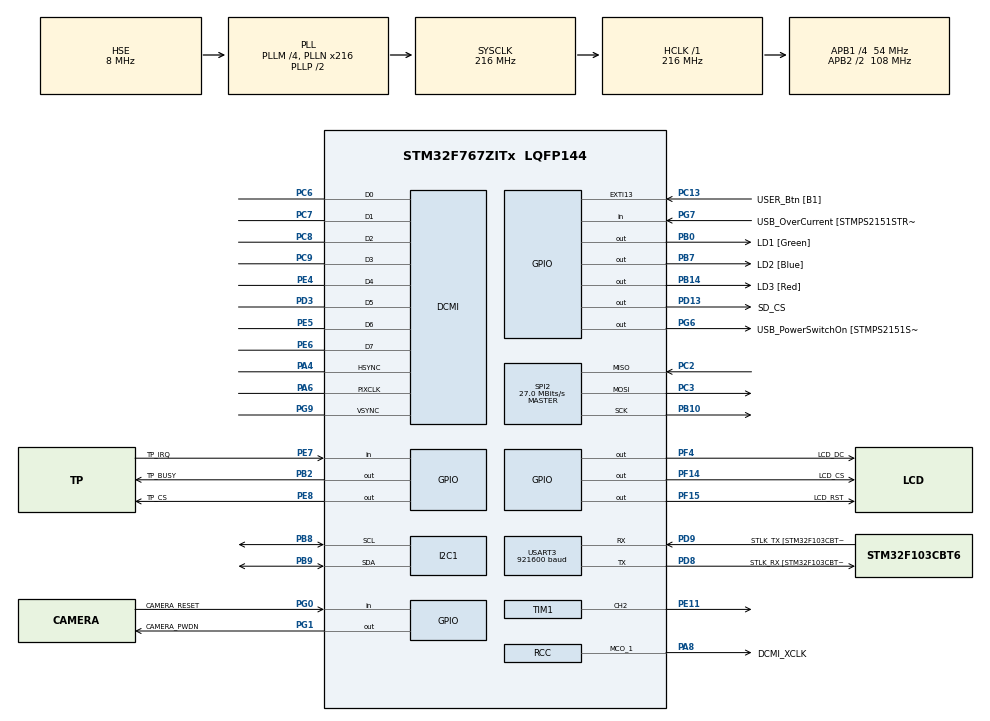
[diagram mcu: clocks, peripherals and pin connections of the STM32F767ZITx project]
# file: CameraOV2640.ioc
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DCMI.JPEGMode=DCMI_JPEG_DISABLE
DCMI.PCKPolarity=DCMI_PCKPOLARITY_RISING
Dma.DCMI.0.Direction=DMA_PERIPH_TO_MEMORY
Dma.DCMI.0.FIFOMode=DMA_FIFOMODE_ENABLE
Dma.DCMI.0.FIFOThreshold=DMA_FIFO_THRESHOLD_FULL
Dma.DCMI.0.Instance=DMA2_Stream1
Dma.DCMI.0.MemBurst=DMA_MBURST_SINGLE
Dma.DCMI.0.MemDataAlignment=DMA_MDATAALIGN_BYTE
Dma.DCMI.0.MemInc=DMA_MINC_ENABLE
Dma.DCMI.0.Mode=DMA_CIRCULAR
Dma.DCMI.0.PeriphBurst=DMA_PBURST_SINGLE
Dma.DCMI.0.PeriphDataAlignment=DMA_PDATAALIGN_WORD
Dma.DCMI.0.PeriphInc=DMA_PINC_DISABLE
Dma.DCMI.0.Priority=DMA_PRIORITY_VERY_HIGH
Dma.Request0=DCMI
I2C1.Timing=0x20404768
Mcu.Family=STM32F7
Mcu.Name=STM32F767ZITx
Mcu.Package=LQFP144
NVIC.DCMI_IRQn=true\:0\:0\:false\:false\:true\:true\:true\:true
NVIC.DMA2_Stream1_IRQn=true\:0\:0\:false\:false\:true\:false\:true\:true
NVIC.PriorityGroup=NVIC_PRIORITYGROUP_4
NVIC.USART3_IRQn=true\:0\:0\:false\:false\:true\:true\:true\:true
PA13.GPIO_Label=TMS
PA13.Mode=Serial_Wire
PA13.Signal=SYS_JTMS-SWDIO
PA14.GPIO_Label=TCK
PA14.Mode=Serial_Wire
PA14.Signal=SYS_JTCK-SWCLK
PA4.GPIO_Speed=GPIO_SPEED_FREQ_VERY_HIGH
PA4.Mode=Slave_8_bits_External_Synchro
PA4.Signal=DCMI_HSYNC
PA6.GPIO_Speed=GPIO_SPEED_FREQ_VERY_HIGH
PA6.Mode=Slave_8_bits_External_Synchro
PA6.Signal=DCMI_PIXCLK
PA8.GPIO_Label=DCMI_XCLK
PA8.GPIO_Speed=GPIO_SPEED_FREQ_VERY_HIGH
PA8.Mode=Clock-out-1
PA8.Signal=RCC_MCO_1
PB0.GPIO_Label=LD1 [Green]
PB0.Signal=GPIO_Output
PB10.Mode=Full_Duplex_Master
PB10.Signal=SPI2_SCK
PB14.GPIO_Label=LD3 [Red]
PB14.Signal=GPIO_Output
PB2.GPIO_Label=TP_BUSY
PB2.Signal=GPIO_Output
PB3.GPIO_Label=SWO
PB3.Signal=SYS_JTDO-SWO
PB7.GPIO_Label=LD2 [Blue]
PB7.Signal=GPIO_Output
PB8.GPIO_Pu=GPIO_PULLUP
PB8.Mode=I2C
PB8.Signal=I2C1_SCL
PB9.GPIO_Pu=GPIO_PULLUP
PB9.Mode=I2C
PB9.Signal=I2C1_SDA
PC13.GPIO_Label=USER_Btn [B1]
PC13.Signal=GPXTI13
PC14/OSC32_IN.Mode=LSE-External-Oscillator
PC14/OSC32_IN.Signal=RCC_OSC32_IN
PC15/OSC32_OUT.Mode=LSE-External-Oscillator
PC15/OSC32_OUT.Signal=RCC_OSC32_OUT
PC2.Mode=Full_Duplex_Master
PC2.Signal=SPI2_MISO
PC3.Mode=Full_Duplex_Master
PC3.Signal=SPI2_MOSI
PC6.GPIO_Speed=GPIO_SPEED_FREQ_VERY_HIGH
PC6.Mode=Slave_8_bits_External_Synchro
PC6.Signal=DCMI_D0
PC7.Mode=Slave_8_bits_External_Synchro
PC7.Signal=DCMI_D1
PC8.Mode=Slave_8_bits_External_Synchro
PC8.Signal=DCMI_D2
PC9.Mode=Slave_8_bits_External_Synchro
PC9.Signal=DCMI_D3
PD13.GPIO_Label=SD_CS
PD13.Signal=GPIO_Output
PD3.Mode=Slave_8_bits_External_Synchro
PD3.Signal=DCMI_D5
PD8.GPIO_Label=STLK_RX [STM32F103CBT6_PA3]
PD8.Mode=Asynchronous
PD8.Signal=USART3_TX
PD9.GPIO_Label=STLK_TX [STM32F103CBT6_PA2]
PD9.Mode=Asynchronous
PD9.Signal=USART3_RX
PE11.Signal=S_TIM1_CH2
PE4.Mode=Slave_8_bits_External_Synchro
PE4.Signal=DCMI_D4
PE5.GPIO_Speed=GPIO_SPEED_FREQ_VERY_HIGH
PE5.Mode=Slave_8_bits_External_Synchro
PE5.Signal=DCMI_D6
PE6.GPIO_Speed=GPIO_SPEED_FREQ_VERY_HIGH
PE6.Mode=Slave_8_bits_External_Synchro
PE6.Signal=DCMI_D7
PE7.GPIO_Label=TP_IRQ
PE7.Signal=GPIO_Input
PE8.GPIO_Label=TP_CS
PE8.Signal=GPIO_Output
PF14.GPIO_Label=LCD_CS
PF14.Signal=GPIO_Output
PF15.GPIO_Label=LCD_RST
PF15.Signal=GPIO_Output
PF4.GPIO_Label=LCD_DC
PF4.Signal=GPIO_Output
PG0.GPIO_Label=CAMERA_RESET
PG0.Signal=GPIO_Input
PG1.GPIO_Label=CAMERA_PWDN
PG1.Signal=GPIO_Output
PG6.GPIO_Label=USB_PowerSwitchOn [STMPS2151STR_EN]
PG6.Signal=GPIO_Output
PG7.GPIO_Label=USB_OverCurrent [STMPS2151STR_FAULT]
PG7.Signal=GPIO_Input
PG9.Mode=Slave_8_bits_External_Synchro
PG9.Signal=DCMI_VSYNC
PH0/OSC_IN.GPIO_Label=MCO [STM32F103CBT6_PA8]
PH0/OSC_IN.Mode=HSE-External-Clock-Source
PH0/OSC_IN.Signal=RCC_OSC_IN
PH1/OSC_OUT.Mode=HSE-External-Clock-Source
PH1/OSC_OUT.Signal=RCC_OSC_OUT
ProjectManager.HeapSize=0x200
ProjectManager.StackSize=0x400
ProjectManager.TargetToolchain=STM32CubeIDE
RCC.48MHZClocksFreq_Value=24000000
RCC.AHBFreq_Value=216000000
RCC.APB1CLKDivider=RCC_HCLK_DIV4
RCC.APB1Freq_Value=54000000
RCC.APB1TimFreq_Value=108000000
RCC.APB2CLKDivider=RCC_HCLK_DIV2
RCC.APB2Freq_Value=108000000
RCC.APB2TimFreq_Value=216000000
RCC.CortexFreq_Value=216000000
RCC.HCLKFreq_Value=216000000
RCC.HSE_VALUE=8000000
RCC.HSI_VALUE=16000000
RCC.PLLI2SR=4
RCC.PLLM=4
RCC.PLLMUL=RCC_PLL_MUL9
RCC.PLLN=216
RCC.PLLQ=4
RCC.PLLSourceVirtual=RCC_PLLSOURCE_HSE
RCC.PRESCALERUSB=RCC_USBCLKSOURCE_PLL_DIV1_5
RCC.RCC_MCO2Source=RCC_MCO2SOURCE_PLLI2SCLK
RCC.RCC_MCODiv1=RCC_MCODIV_2
RCC.RCC_MCODiv2=RCC_MCODIV_3
RCC.SYSCLKFreq_VALUE=216000000
RCC.SYSCLKSource=RCC_SYSCLKSOURCE_PLLCLK
RCC.SYSCLKSourceVirtual=RCC_SYSCLKSOURCE_PLLCLK
RCC.USBFreq_Value=108000000
RCC.VCOOutputFreq_Value=432000000
SH.S_TIM1_CH2.0=TIM1_CH2,PWM Generation2 CH2
SPI2.BaudRatePrescaler=SPI_BAUDRATEPRESCALER_2
SPI2.CalculateBaudRate=27.0 MBits/s
SPI2.DataSize=SPI_DATASIZE_8BIT
SPI2.Direction=SPI_DIRECTION_2LINES
SPI2.Mode=SPI_MODE_MASTER
SPI2.NSSPMode=SPI_NSS_PULSE_DISABLE
SPI2.VirtualType=VM_MASTER
TIM1.Channel-PWM\ Generation2\ CH2=TIM_CHANNEL_2
TIM1.Period=2160-1
TIM1.Prescaler=1000-1
USART3.BaudRate=921600
USART3.VirtualMode-Asynchronous=VM_ASYNC
board=NUCLEO-F767ZI

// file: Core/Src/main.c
/* USER CODE BEGIN Header */
/**
 ******************************************************************************
 * @file           : main.c
 * @brief          : Main program body
 ******************************************************************************
 * @attention
 *
 * Copyright (c) 2022 STMicroelectronics.
 * All rights reserved.
 *
 * This software is licensed under terms that can be found in the LICENSE file
 * in the root directory of this software component.
 * If no LICENSE file comes with this software, it is provided AS-IS.
 *
 ******************************************************************************
 */
/* USER CODE END Header */
#include "main.h"
#include "dcmi.h"
#include "dma.h"
#include "i2c.h"
#include "spi.h"
#include "tim.h"
#include "usart.h"
#include "gpio.h"

/* USER CODE BEGIN Includes */
#include "ArduCAM.h"
#include "capture.h"
/* USER CODE END Includes */

/* USER CODE BEGIN PTD */
enum CameraWorkMode
{
    JPEGStartSingleShot     = 1,
    JPEGStartVideoStreaming = 2,
    BMPStartSingleShot      = 3
};
/* USER CODE END PTD */

/* USER CODE BEGIN PV */
uint8_t vid, pid;
uint8_t Camera_WorkMode = 0;
uint8_t start_shoot     = 0;
uint8_t stop            = 0;
/* USER CODE END PV */

void SystemClock_Config(void);

/* USER CODE BEGIN 0 */

/// Detection of the camera model which tests communication between that
/// peripheral and STM. Prints camera's model on UART. Sets correct camera model
/// and address value for ArduCAM library.
void CameraModelDetection()
{
    while (1)
    {
        sensor_addr = 0x60;
        wrSensorReg8_8(0xff, 0x01); // Table13 register bank
        rdSensorReg8_8(OV2640_CHIPID_HIGH, &vid);
        rdSensorReg8_8(OV2640_CHIPID_LOW, &pid);
        if (vid == 0x26 && (pid == 0x41 || pid == 0x42))
        {
            sensor_model = OV2640;
            uprintf("ACK CMD OV2640 detected.\r\n");
            break;
        }
        else
        {
            uprintf("ACK CMD Can't find OV2640 module!\r\n");
        }
        sensor_addr = 0x78;
        rdSensorReg16_8(OV5640_CHIPID_HIGH, &vid);
        rdSensorReg16_8(OV5640_CHIPID_LOW, &pid);
        if ((vid == 0x56) && (pid == 0x40))
        {
            sensor_model = OV5640;
            uprintf("ACK CMD OV5640 detected.\r\n");
            break;
        }
        else
        {
            uprintf("ACK CMD Can't find OV5640 module!\r\n");
        }

        sensor_addr = 0x78;
        rdSensorReg16_8(OV5642_CHIPID_HIGH, &vid);
        rdSensorReg16_8(OV5642_CHIPID_LOW, &pid);
        if ((vid == 0x56) && (pid == 0x42))
        {
            sensor_model = OV5642;
            uprintf("ACK CMD OV5642 detected.\r\n");
            break;
        }
        else
        {
            uprintf("ACK CMD Can't find OV5642 module!\r\n");
        }
        HAL_Delay(1000);
    }
}

/// Process input from USART
void ProcessInput()
{
    uint8_t received = 0;
    if (NewCMD == 1)
    {
        NewCMD = 0;
        while (HAL_UART_Receive_IT(&huart3, &received, 0x01) != HAL_BUSY)
            ;
        switch (received)
        {
            case 0:
                if (sensor_model == OV2640)
                {
                    OV2640_set_JPEG_size(OV2640_160x120);
                    uprintf("ACK CMD switch to OV2640_160x120\r\n");
                }
                else if (sensor_model == OV5640)
                {
                    OV5640_set_JPEG_size(OV5640_320x240);
                    uprintf("ACK CMD switch to OV5640_320x240\r\n");
                }
                else if (sensor_model == OV5642)
                {
                    OV5642_set_JPEG_size(OV5642_320x240);
                    uprintf("ACK CMD switch to OV5642_320x240\r\n");
                }
                break;
            case 1:
                if (sensor_model == OV2640)
                {
                    OV2640_set_JPEG_size(OV2640_176x144);
                    uprintf("ACK CMD switch to OV2640_176x144\r\n");
                }
                else if (sensor_model == OV5640)
                {
                    OV5640_set_JPEG_size(OV5640_352x288);
                    uprintf("ACK CMD switch to OV5640_352x288\r\n");
                }
                else if (sensor_model == OV5642)
                {
                    OV5642_set_JPEG_size(OV5642_640x480);
                    uprintf("ACK CMD switch to OV5642_640x480\r\n");
                }
                break;
            case 2:
                if (sensor_model == OV2640)
                {
                    OV2640_set_JPEG_size(OV2640_320x240);
                    uprintf("ACK CMD switch to OV2640_320x240\r\n");
                }
                else if (sensor_model == OV5640)
                {
                    OV5640_set_JPEG_size(OV5640_640x480);
                    uprintf("ACK CMD switch to OV5640_640x480\r\n");
                }
                else if (sensor_model == OV5642)
                {
                    OV5642_set_JPEG_size(OV5642_1024x768);
                    uprintf("ACK CMD switch to OV5642_1024x768\r\n");
                }
                break;
            case 3:
                if (sensor_model == OV2640)
                {
                    OV2640_set_JPEG_size(OV2640_352x288);
                    uprintf("ACK CMD switch to OV2640_352x288\r\n");
                }
                else if (sensor_model == OV5640)
                {
                    OV5640_set_JPEG_size(OV5640_800x480);
                    uprintf("ACK CMD switch to OV5640_800x480\r\n");
                }
                else if (sensor_model == OV5642)
                {
                    OV5642_set_JPEG_size(OV5642_1280x960);
                    uprintf("ACK CMD switch to OV5642_1280x960\r\n");
                }
                break;
            case 4:
                if (sensor_model == OV2640)
                {
                    OV2640_set_JPEG_size(OV2640_640x480);
                    uprintf("ACK CMD switch to OV2640_640x480\r\n");
                }
                else if (sensor_model == OV5640)
                {
                    OV5640_set_JPEG_size(OV5640_1024x768);
                    uprintf("ACK CMD switch to OV5640_1024x768\r\n");
                }
                else if (sensor_model == OV5642)
                {
                    OV5642_set_JPEG_size(OV5642_1600x1200);
                    uprintf("ACK CMD switch to OV5642_1600x1200\r\n");
                }
                break;
            case 5:
                if (sensor_model == OV2640)
                {
                    OV2640_set_JPEG_size(OV2640_800x600);
                    uprintf("ACK CMD switch to OV2640_800x600\r\n");
                }
                else if (sensor_model == OV5640)
                {
                    OV5640_set_JPEG_size(OV5640_1280x960);
                    uprintf("ACK CMD switch to OV5640_1280x960\r\n");
                }
                else if (sensor_model == OV5642)
                {
                    OV5642_set_JPEG_size(OV5642_2048x1536);
                    uprintf("ACK CMD switch to OV5642_2048x1536\r\n");
                }
                break;
            case 6:
                if (sensor_model == OV2640)
                {
                    OV2640_set_JPEG_size(OV2640_1024x768);
                    uprintf("ACK CMD switch to OV2640_1024x768\r\n");
                }
                else if (sensor_model == OV5640)
                {
                    OV5640_set_JPEG_size(OV5640_1600x1200);
                    uprintf("ACK CMD switch to OV5640_1600x1200\r\n");
                }
                else if (sensor_model == OV5642)
                {
                    OV5642_set_JPEG_size(OV5642_2592x1944);
                    uprintf("ACK CMD switch to OV5642_2592x1944\r\n");
                }
                break;
            case 7:
                if (sensor_model == OV2640)
                {
                    OV2640_set_JPEG_size(OV2640_1280x1024);
                    uprintf("ACK CMD switch to OV2640_1280x1024\r\n");
                }
                else if (sensor_model == OV5640)
                {
                    OV5640_set_JPEG_size(OV5640_2048x1536);
                    uprintf("ACK CMD switch to OV5640_2048x1536\r\n");
                }
                break;
            case 8:
                if (sensor_model == OV2640)
                {
                    OV2640_set_JPEG_size(OV2640_1600x1200);
                    uprintf("ACK CMD switch to OV2640_1600x1200\r\n");
                }
                else if (sensor_model == OV5640)
                {
                    OV5640_set_JPEG_size(OV5640_2592x1944);
                    uprintf("ACK CMD switch to OV5640_2592x1944\r\n");
                }
                break;
            case 0x10:
                Camera_WorkMode = 1;
                start_shoot     = 1;
                uprintf("ACK CMD CAM start single shoot.\r\n");
                break;
            case 0x11:
                set_format(JPEG_FORMAT);
                ArduCAM_Init();
#if !defined(OV2640)
                set_bit(ARDUCHIP_TIM, VSYNC_MASK);
#endif
                break;
            case 0x20:
                Camera_WorkMode = 2;
                start_shoot     = 2;
                uprintf("ACK CMD CAM start video streaming.\r\n");
                break;
            case 0x21:
                stop = 1;
                uprintf("ACK CMD CAM stop video streaming.\r\n");
                break;
            case 0x30:
                Camera_WorkMode = 3;
                start_shoot     = 3;
                uprintf("ACK CMD CAM start single BMP shoot.\r\n");
                break;
            case 0x31:
                set_format(BMP_FORMAT);
                ArduCAM_Init();
                if (sensor_model != OV2640)
                {
                    clear_bit(ARDUCHIP_TIM, VSYNC_LEVEL_MASK);
                }
                wrSensorReg16_8(0x3818, 0x81);
                wrSensorReg16_8(0x3621, 0xa7);
                uprintf("ACK CMD SetToBMP \r\n");
                break;
            default:
                break;
        }
    }
}

/* USER CODE END 0 */

int main(void)
{

  /* MCU Configuration--------------------------------------------------------*/

  /* Reset of all peripherals, Initializes the Flash interface and the Systick. */
  HAL_Init();

  /* Configure the system clock */
  SystemClock_Config();

  /* Initialize all configured peripherals */
  MX_GPIO_Init();
  MX_DCMI_Init();
  MX_SPI2_Init();
  MX_DMA_Init();
  MX_USART3_UART_Init();
  MX_TIM1_Init();
  MX_I2C1_Init();
  /* USER CODE BEGIN 2 */
    delay_init();
    sccb_bus_init();

    // Test of I2C communication with camera and printing its model on UART
    CameraModelDetection();

    ArduCAM_Init();
  /* USER CODE END 2 */

  /* Infinite loop */
    while (1)
    {

    /* USER CODE BEGIN 3 */
        ProcessInput();
        if (Camera_WorkMode == JPEGStartSingleShot)
        {
            // TODO: Handle JPEG capture
            if (start_shoot == JPEGStartSingleShot)
            {
                start_shoot = 0;
                SingleCapTransfer();
            }
            if (receive_OK)
            {
                receive_OK = 0;
                SendbyUSART1();
            }
        }
        else if (Camera_WorkMode == JPEGStartVideoStreaming)
        {
            // TODO: Handle JPEG capture
            if (start_shoot == JPEGStartVideoStreaming)
            {
                if (send_OK)
                {
                    if (stop)
                    {
                        uprintf("ACK CMD CAM stop video streaming.\r\n");
                        stop            = 0;
                        Camera_WorkMode = 0;
                        start_shoot     = 0;
                    }
                    send_OK = false;
                    SingleCapTransfer();
                }
                if (receive_OK)
                {
                    receive_OK = 0;
                    SendbyUSART1();
                }
            }
        }
        else if (Camera_WorkMode == BMPStartSingleShot)
        {
            if (start_shoot == BMPStartSingleShot)
            {
                start_shoot     = 0;
                Camera_WorkMode = 0;
                StartBMPcapture();
            }
        }
    }
  /* USER CODE END 3 */
}

void SystemClock_Config(void)
{
  RCC_OscInitTypeDef RCC_OscInitStruct = {0};
  RCC_ClkInitTypeDef RCC_ClkInitStruct = {0};

  /** Configure LSE Drive Capability
  */
  HAL_PWR_EnableBkUpAccess();

  /** Configure the main internal regulator output voltage
  */
  __HAL_RCC_PWR_CLK_ENABLE();
  __HAL_PWR_VOLTAGESCALING_CONFIG(PWR_REGULATOR_VOLTAGE_SCALE1);

  /** Initializes the RCC Oscillators according to the specified parameters
  * in the RCC_OscInitTypeDef structure.
  */
  RCC_OscInitStruct.OscillatorType = RCC_OSCILLATORTYPE_HSI|RCC_OSCILLATORTYPE_HSE;
  RCC_OscInitStruct.HSEState = RCC_HSE_BYPASS;
  RCC_OscInitStruct.HSIState = RCC_HSI_ON;
  RCC_OscInitStruct.HSICalibrationValue = RCC_HSICALIBRATION_DEFAULT;
  RCC_OscInitStruct.PLL.PLLState = RCC_PLL_ON;
  RCC_OscInitStruct.PLL.PLLSource = RCC_PLLSOURCE_HSE;
  RCC_OscInitStruct.PLL.PLLM = 4;
  RCC_OscInitStruct.PLL.PLLN = 216;
  RCC_OscInitStruct.PLL.PLLP = RCC_PLLP_DIV2;
  RCC_OscInitStruct.PLL.PLLQ = 4;
  RCC_OscInitStruct.PLL.PLLR = 2;
  if (HAL_RCC_OscConfig(&RCC_OscInitStruct) != HAL_OK)
  {
    Error_Handler();
  }

  /** Activate the Over-Drive mode
  */
  if (HAL_PWREx_EnableOverDrive() != HAL_OK)
  {
    Error_Handler();
  }

  /** Initializes the CPU, AHB and APB buses clocks
  */
  RCC_ClkInitStruct.ClockType = RCC_CLOCKTYPE_HCLK|RCC_CLOCKTYPE_SYSCLK
                              |RCC_CLOCKTYPE_PCLK1|RCC_CLOCKTYPE_PCLK2;
  RCC_ClkInitStruct.SYSCLKSource = RCC_SYSCLKSOURCE_PLLCLK;
  RCC_ClkInitStruct.AHBCLKDivider = RCC_SYSCLK_DIV1;
  RCC_ClkInitStruct.APB1CLKDivider = RCC_HCLK_DIV4;
  RCC_ClkInitStruct.APB2CLKDivider = RCC_HCLK_DIV2;

  if (HAL_RCC_ClockConfig(&RCC_ClkInitStruct, FLASH_LATENCY_7) != HAL_OK)
  {
    Error_Handler();
  }
  HAL_RCC_MCOConfig(RCC_MCO1, RCC_MCO1SOURCE_HSI, RCC_MCODIV_2);
}

void Error_Handler(void)
{
  /* USER CODE BEGIN Error_Handler_Debug */
    /* User can add his own implementation to report the HAL error return state
     */
    __disable_irq();
    while (1)
    {
    }
  /* USER CODE END Error_Handler_Debug */
}

#ifdef  USE_FULL_ASSERT
/**
  * @brief  Reports the name of the source file and the source line number
  *         where the assert_param error has occurred.
  * @param  file: pointer to the source file name
  * @param  line: assert_param error line source number
  * @retval None
  */
void assert_failed(uint8_t *file, uint32_t line)
{
  /* USER CODE BEGIN 6 */
    /* User can add his own implementation to report the file name and line
       number, ex: uprintf("Wrong parameters value: file %s on line %d\r\n",
       file, line) */
  /* USER CODE END 6 */
}
#endif /* USE_FULL_ASSERT */
